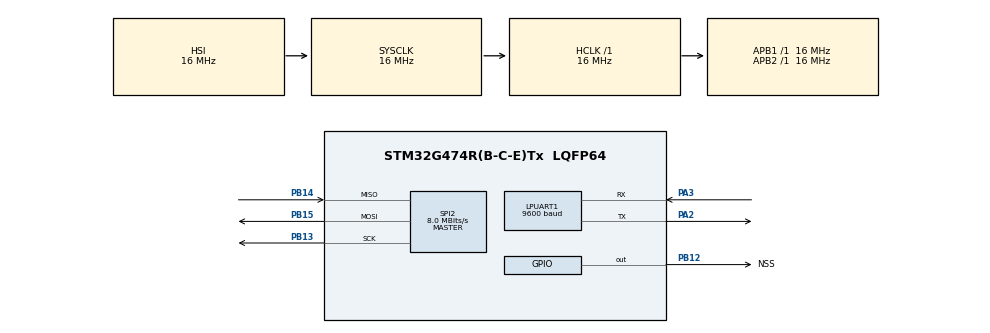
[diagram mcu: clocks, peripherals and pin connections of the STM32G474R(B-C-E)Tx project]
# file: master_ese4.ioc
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Dma.Request0=SPI2_RX
Dma.Request1=SPI2_TX
Dma.SPI2_RX.0.Direction=DMA_PERIPH_TO_MEMORY
Dma.SPI2_RX.0.EventEnable=DISABLE
Dma.SPI2_RX.0.Instance=DMA1_Channel1
Dma.SPI2_RX.0.MemDataAlignment=DMA_MDATAALIGN_BYTE
Dma.SPI2_RX.0.MemInc=DMA_MINC_ENABLE
Dma.SPI2_RX.0.Mode=DMA_NORMAL
Dma.SPI2_RX.0.PeriphDataAlignment=DMA_PDATAALIGN_BYTE
Dma.SPI2_RX.0.PeriphInc=DMA_PINC_DISABLE
Dma.SPI2_RX.0.Polarity=HAL_DMAMUX_REQ_GEN_RISING
Dma.SPI2_RX.0.Priority=DMA_PRIORITY_LOW
Dma.SPI2_RX.0.RequestNumber=1
Dma.SPI2_RX.0.SignalID=NONE
Dma.SPI2_RX.0.SyncEnable=DISABLE
Dma.SPI2_RX.0.SyncPolarity=HAL_DMAMUX_SYNC_NO_EVENT
Dma.SPI2_RX.0.SyncRequestNumber=1
Dma.SPI2_RX.0.SyncSignalID=NONE
Dma.SPI2_TX.1.Direction=DMA_MEMORY_TO_PERIPH
Dma.SPI2_TX.1.EventEnable=DISABLE
Dma.SPI2_TX.1.Instance=DMA1_Channel2
Dma.SPI2_TX.1.MemDataAlignment=DMA_MDATAALIGN_BYTE
Dma.SPI2_TX.1.MemInc=DMA_MINC_ENABLE
Dma.SPI2_TX.1.Mode=DMA_NORMAL
Dma.SPI2_TX.1.PeriphDataAlignment=DMA_PDATAALIGN_BYTE
Dma.SPI2_TX.1.PeriphInc=DMA_PINC_DISABLE
Dma.SPI2_TX.1.Polarity=HAL_DMAMUX_REQ_GEN_RISING
Dma.SPI2_TX.1.Priority=DMA_PRIORITY_LOW
Dma.SPI2_TX.1.RequestNumber=1
Dma.SPI2_TX.1.SignalID=NONE
Dma.SPI2_TX.1.SyncEnable=DISABLE
Dma.SPI2_TX.1.SyncPolarity=HAL_DMAMUX_SYNC_NO_EVENT
Dma.SPI2_TX.1.SyncRequestNumber=1
Dma.SPI2_TX.1.SyncSignalID=NONE
LPUART1.BaudRate=9600
Mcu.Family=STM32G4
Mcu.Name=STM32G474R(B-C-E)Tx
Mcu.Package=LQFP64
NVIC.DMA1_Channel1_IRQn=true\:0\:0\:false\:false\:true\:false\:true\:true
NVIC.DMA1_Channel2_IRQn=true\:0\:0\:false\:false\:true\:false\:true\:true
NVIC.LPUART1_IRQn=true\:0\:0\:false\:false\:true\:true\:true\:true
NVIC.PriorityGroup=NVIC_PRIORITYGROUP_4
NVIC.SPI2_IRQn=true\:0\:0\:false\:false\:true\:true\:true\:true
PA2.Mode=Asynchronous
PA2.Signal=LPUART1_TX
PA3.Mode=Asynchronous
PA3.Signal=LPUART1_RX
PB12.GPIO_Label=NSS
PB12.Signal=GPIO_Output
PB13.Mode=Full_Duplex_Master
PB13.Signal=SPI2_SCK
PB14.Mode=Full_Duplex_Master
PB14.Signal=SPI2_MISO
PB15.Mode=Full_Duplex_Master
PB15.Signal=SPI2_MOSI
ProjectManager.HeapSize=0x200
ProjectManager.StackSize=0x400
ProjectManager.TargetToolchain=STM32CubeIDE
RCC.AHBFreq_Value=16000000
RCC.APB1Freq_Value=16000000
RCC.APB1TimFreq_Value=16000000
RCC.APB2Freq_Value=16000000
RCC.APB2TimFreq_Value=16000000
RCC.CortexFreq_Value=16000000
RCC.EXTERNAL_CLOCK_VALUE=12288000
RCC.HCLKFreq_Value=16000000
RCC.HSE_VALUE=8000000
RCC.HSI48_VALUE=48000000
RCC.HSI_VALUE=16000000
RCC.LSE_VALUE=32768
RCC.SYSCLKFreq_VALUE=16000000
RCC.USBFreq_Value=64000000
RCC.VCOOutputFreq_Value=128000000
SPI2.CalculateBaudRate=8.0 MBits/s
SPI2.DataSize=SPI_DATASIZE_8BIT
SPI2.Direction=SPI_DIRECTION_2LINES
SPI2.Mode=SPI_MODE_MASTER
SPI2.VirtualType=VM_MASTER
VP_SYS_VS_DBSignals.Mode=DisableDeadBatterySignals
board=custom

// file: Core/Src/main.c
/* USER CODE BEGIN Header */
/**
  ******************************************************************************
  * @file           : main.c
  * @brief          : Main program body
  ******************************************************************************
  * @attention
  *
  * Copyright (c) 2026 STMicroelectronics.
  * All rights reserved.
  *
  * This software is licensed under terms that can be found in the LICENSE file
  * in the root directory of this software component.
  * If no LICENSE file comes with this software, it is provided AS-IS.
  *
  ******************************************************************************
  */
/* USER CODE END Header */
#include "main.h"
#include "dma.h"
#include "usart.h"
#include "spi.h"
#include "gpio.h"

/* USER CODE BEGIN Includes */
#include "string.h"
#include "stdlib.h"
#include "stdio.h"

/* USER CODE END Includes */

/* USER CODE BEGIN PD */
#define MAX_BUFFER_SIZE 10

/* USER CODE END PD */

/* USER CODE BEGIN PV */
uint8_t master_rx_buffer[MAX_BUFFER_SIZE];
uint8_t master_tx_buffer[MAX_BUFFER_SIZE];
uint32_t current_time;
uint32_t last_timer_time = 0;
uint32_t somma=0;
float media=0;
char log_buffer[100];                      // Buffer per il logger UART
/* USER CODE END PV */

void SystemClock_Config(void);

int main(void)
{

  /* MCU Configuration--------------------------------------------------------*/

  /* Reset of all peripherals, Initializes the Flash interface and the Systick. */
  HAL_Init();

  /* Configure the system clock */
  SystemClock_Config();

  /* Initialize all configured peripherals */
  MX_GPIO_Init();
  MX_DMA_Init();
  MX_SPI2_Init();
  MX_LPUART1_UART_Init();
  /* USER CODE BEGIN 2 */
	memset(master_tx_buffer, 0x00, MAX_BUFFER_SIZE);

	// DEBUG UART: Invio un messaggio di test sincrono (bloccante) per verificare PuTTY
	// Se non vedi questa stringa all'avvio, il problema è il Baud Rate o il cablaggio TX/RX.
	char msg_test[] = "--- Master Inizializzato e Pronto ---\r\n";
	HAL_UART_Transmit(&hlpuart1, (uint8_t*) msg_test, strlen(msg_test), 100);
  /* USER CODE END 2 */

  /* Infinite loop */
  /* USER CODE BEGIN WHILE */
  while (1)
  {
	  current_time=HAL_GetTick(); //inizio a contare il tempo
	  if(current_time-last_timer_time>=2000){
		  last_timer_time=current_time;
		  HAL_GPIO_WritePin(NSS_GPIO_Port, NSS_Pin, GPIO_PIN_RESET);
		  HAL_SPI_TransmitReceive_DMA(&hspi2, (uint8_t *)master_tx_buffer,(uint8_t *)master_rx_buffer,  MAX_BUFFER_SIZE);
	  }

    /* USER CODE END WHILE */

  }
}

void SystemClock_Config(void)
{
  RCC_OscInitTypeDef RCC_OscInitStruct = {0};
  RCC_ClkInitTypeDef RCC_ClkInitStruct = {0};

  /** Configure the main internal regulator output voltage
  */
  HAL_PWREx_ControlVoltageScaling(PWR_REGULATOR_VOLTAGE_SCALE1);

  /** Initializes the RCC Oscillators according to the specified parameters
  * in the RCC_OscInitTypeDef structure.
  */
  RCC_OscInitStruct.OscillatorType = RCC_OSCILLATORTYPE_HSI;
  RCC_OscInitStruct.HSIState = RCC_HSI_ON;
  RCC_OscInitStruct.HSICalibrationValue = RCC_HSICALIBRATION_DEFAULT;
  RCC_OscInitStruct.PLL.PLLState = RCC_PLL_NONE;
  if (HAL_RCC_OscConfig(&RCC_OscInitStruct) != HAL_OK)
  {
    Error_Handler();
  }

  /** Initializes the CPU, AHB and APB buses clocks
  */
  RCC_ClkInitStruct.ClockType = RCC_CLOCKTYPE_HCLK|RCC_CLOCKTYPE_SYSCLK
                              |RCC_CLOCKTYPE_PCLK1|RCC_CLOCKTYPE_PCLK2;
  RCC_ClkInitStruct.SYSCLKSource = RCC_SYSCLKSOURCE_HSI;
  RCC_ClkInitStruct.AHBCLKDivider = RCC_SYSCLK_DIV1;
  RCC_ClkInitStruct.APB1CLKDivider = RCC_HCLK_DIV1;
  RCC_ClkInitStruct.APB2CLKDivider = RCC_HCLK_DIV1;

  if (HAL_RCC_ClockConfig(&RCC_ClkInitStruct, FLASH_LATENCY_0) != HAL_OK)
  {
    Error_Handler();
  }
}

/* USER CODE BEGIN 4 */
void HAL_SPI_TxRxCpltCallback(SPI_HandleTypeDef *hspi){
	if (hspi->Instance == hspi2.Instance) {
		HAL_GPIO_WritePin(NSS_GPIO_Port, NSS_Pin, GPIO_PIN_SET);
		uint8_t n=master_rx_buffer[0];
		if(n>0 && n< MAX_BUFFER_SIZE){
			somma = 0;
			for(uint8_t i=1;i<=n;i++){
				somma+=master_rx_buffer[i];
			}
			media=(float)somma/n;
			int parte_intera = (int)media;
			int parte_decimale = (int)((media - parte_intera) * 10); // Estrae la prima cifra decimale
			if (hlpuart1.gState == HAL_UART_STATE_READY) {
				snprintf(log_buffer, sizeof(log_buffer),"Campioni validi: %d, Temp. media: %d.%d\r\n", n, parte_intera,parte_decimale);
				HAL_UART_Transmit_IT(&hlpuart1, (uint8_t*) log_buffer,strlen(log_buffer));
			}
		}
	}

}

void HAL_UART_TxCpltCallback(UART_HandleTypeDef *huart) {
	// Callback vuota ma necessaria per confermare il reset dello stato interno dell'HAL UART
	if (huart->Instance == hlpuart1.Instance) {
		// Lo stato torna automaticamente a READY grazie alla libreria HAL
	}
}

void HAL_SPI_ErrorCallback(SPI_HandleTypeDef *hspi) {
	if (hspi->Instance == hspi2.Instance) {
		HAL_GPIO_WritePin(NSS_GPIO_Port, NSS_Pin, GPIO_PIN_SET); // Rilascia il bus

		if (hlpuart1.gState == HAL_UART_STATE_READY) {
			snprintf(log_buffer, sizeof(log_buffer), "[ERR hardware] Errore SPI sollevato: 0x%08X\r\n", hspi->ErrorCode);
			HAL_UART_Transmit_IT(&hlpuart1, (uint8_t*) log_buffer, strlen(log_buffer));
		}
	}
}

/* USER CODE END 4 */

void Error_Handler(void)
{
  __disable_irq();
  while (1)
  {
  }
}
